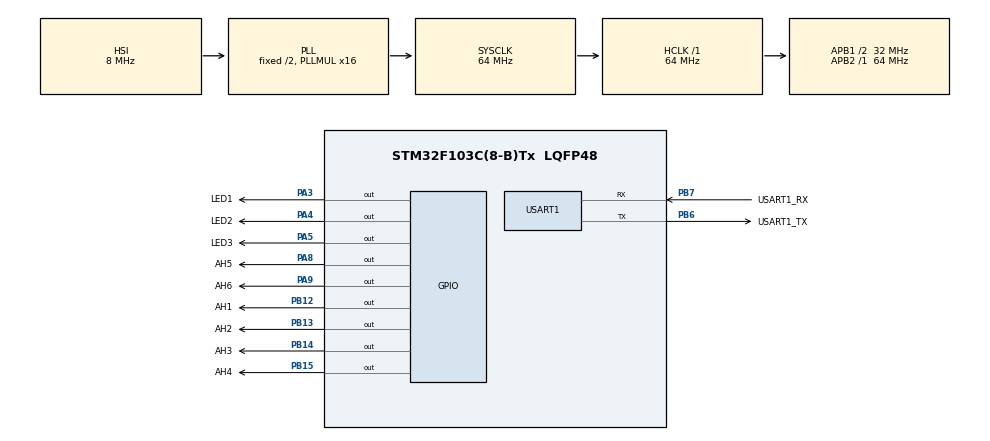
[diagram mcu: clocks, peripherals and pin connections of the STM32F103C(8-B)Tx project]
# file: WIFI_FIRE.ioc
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Mcu.Family=STM32F1
Mcu.Name=STM32F103C(8-B)Tx
Mcu.Package=LQFP48
NVIC.PriorityGroup=NVIC_PRIORITYGROUP_4
PA13.Mode=Serial_Wire
PA13.Signal=SYS_JTMS-SWDIO
PA14.Mode=Serial_Wire
PA14.Signal=SYS_JTCK-SWCLK
PA3.GPIO_Label=LED1
PA3.PinState=GPIO_PIN_SET
PA3.Signal=GPIO_Output
PA4.GPIO_Label=LED2
PA4.PinState=GPIO_PIN_SET
PA4.Signal=GPIO_Output
PA5.GPIO_Label=LED3
PA5.PinState=GPIO_PIN_SET
PA5.Signal=GPIO_Output
PA8.GPIO_Label=AH5
PA8.Signal=GPIO_Output
PA9.GPIO_Label=AH6
PA9.Signal=GPIO_Output
PB12.GPIO_Label=AH1
PB12.Signal=GPIO_Output
PB13.GPIO_Label=AH2
PB13.Signal=GPIO_Output
PB14.GPIO_Label=AH3
PB14.Signal=GPIO_Output
PB15.GPIO_Label=AH4
PB15.Signal=GPIO_Output
PB6.GPIO_Label=USART1_TX
PB6.Mode=Asynchronous
PB6.Signal=USART1_TX
PB7.GPIO_Label=USART1_RX
PB7.Mode=Asynchronous
PB7.Signal=USART1_RX
ProjectManager.HeapSize=0x200
ProjectManager.StackSize=0x400
ProjectManager.TargetToolchain=MDK-ARM V5
RCC.AHBFreq_Value=64000000
RCC.APB1CLKDivider=RCC_HCLK_DIV2
RCC.APB1Freq_Value=32000000
RCC.APB1TimFreq_Value=64000000
RCC.APB2Freq_Value=64000000
RCC.APB2TimFreq_Value=64000000
RCC.HCLKFreq_Value=64000000
RCC.PLLMUL=RCC_PLL_MUL16
RCC.SYSCLKFreq_VALUE=64000000
RCC.SYSCLKSource=RCC_SYSCLKSOURCE_PLLCLK
RCC.USBFreq_Value=64000000
USART1.VirtualMode=VM_ASYNC
board=WIFI_FIRE

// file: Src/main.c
/**
  ******************************************************************************
  * File Name          : main.c
  * Description        : Main program body
  ******************************************************************************
  ** This notice applies to any and all portions of this file
  * that are not between comment pairs USER CODE BEGIN and
  * USER CODE END. Other portions of this file, whether
  * inserted by the user or by software development tools
  * are owned by their respective copyright owners.
  *
  * COPYRIGHT(c) 2019 STMicroelectronics
  *
  * Redistribution and use in source and binary forms, with or without modification,
  * are permitted provided that the following conditions are met:
  *   1. Redistributions of source code must retain the above copyright notice,
  *      this list of conditions and the following disclaimer.
  *   2. Redistributions in binary form must reproduce the above copyright notice,
  *      this list of conditions and the following disclaimer in the documentation
  *      and/or other materials provided with the distribution.
  *   3. Neither the name of STMicroelectronics nor the names of its contributors
  *      may be used to endorse or promote products derived from this software
  *      without specific prior written permission.
  *
  * THIS SOFTWARE IS PROVIDED BY THE COPYRIGHT HOLDERS AND CONTRIBUTORS "AS IS"
  * AND ANY EXPRESS OR IMPLIED WARRANTIES, INCLUDING, BUT NOT LIMITED TO, THE
  * IMPLIED WARRANTIES OF MERCHANTABILITY AND FITNESS FOR A PARTICULAR PURPOSE ARE
  * DISCLAIMED. IN NO EVENT SHALL THE COPYRIGHT HOLDER OR CONTRIBUTORS BE LIABLE
  * FOR ANY DIRECT, INDIRECT, INCIDENTAL, SPECIAL, EXEMPLARY, OR CONSEQUENTIAL
  * DAMAGES (INCLUDING, BUT NOT LIMITED TO, PROCUREMENT OF SUBSTITUTE GOODS OR
  * SERVICES; LOSS OF USE, DATA, OR PROFITS; OR BUSINESS INTERRUPTION) HOWEVER
  * CAUSED AND ON ANY THEORY OF LIABILITY, WHETHER IN CONTRACT, STRICT LIABILITY,
  * OR TORT (INCLUDING NEGLIGENCE OR OTHERWISE) ARISING IN ANY WAY OUT OF THE USE
  * OF THIS SOFTWARE, EVEN IF ADVISED OF THE POSSIBILITY OF SUCH DAMAGE.
  *
  ******************************************************************************
  */

#include "main.h"
#include "stm32f1xx_hal.h"
#include "usart.h"
#include "gpio.h"

/* USER CODE BEGIN Includes */
#include "config.h"
/* USER CODE END Includes */

/* USER CODE BEGIN PV */
/* Private variables ---------------------------------------------------------*/

u8 temp_hex=0xaa;

/* USER CODE END PV */

void SystemClock_Config(void);

/* USER CODE BEGIN PFP */
/* Private function prototypes -----------------------------------------------*/

/* USER CODE END PFP */
extern u8  USART_RX_BUF[USART_REC_LEN]; //接收缓冲,最大USART_REC_LEN个字节.末字节为换行符
extern u16 USART_RX_STA;         		//接收状态标记

int main(void)
{

  /* MCU Configuration----------------------------------------------------------*/

  /* Reset of all peripherals, Initializes the Flash interface and the Systick. */
  HAL_Init();

  /* Configure the system clock */
  SystemClock_Config();

  /* Initialize all configured peripherals */
  MX_GPIO_Init();
  MX_USART1_UART_Init();

  /* USER CODE BEGIN 2 */
  HAL_Delay(1500);
  HAL_Delay(1500);
  printf("AT+CIPSTART=\"UDP\",\"255.255.255.255\",5000,1000,0\r\n");
  HAL_Delay(1500);
  printf("AT+CIPMODE=1\r\n");
  HAL_Delay(800);
  printf("AT+CIPSEND\r\n");
  HAL_Delay(800);

  HAL_GPIO_WritePin(AH2_GPIO_Port,AH2_Pin,GPIO_PIN_RESET);
//  HAL_GPIO_WritePin(AH4_GPIO_Port,AH4_Pin,GPIO_PIN_RESET);
  HAL_GPIO_WritePin(AH5_GPIO_Port,AH5_Pin,GPIO_PIN_RESET);
  HAL_GPIO_WritePin(AH7_GPIO_Port,AH7_Pin,GPIO_PIN_RESET);

  HAL_GPIO_WritePin(AH1_GPIO_Port,AH1_Pin,GPIO_PIN_RESET);
  HAL_GPIO_WritePin(AH3_GPIO_Port,AH3_Pin,GPIO_PIN_RESET);
  HAL_GPIO_WritePin(AH6_GPIO_Port,AH6_Pin,GPIO_PIN_RESET);
  /* USER CODE END 2 */

  /* Infinite loop */
  while (1)
  {

  /* USER CODE BEGIN 3 */

	  if(USART_RX_STA&0x8000)
	  {
//		  printf("OK\r\n");
		  USART_RX_STA=0;
//		  HAL_UART_Receive_IT(&huart3, (u8 *)aRxBuffer, RXBUFFERSIZE);

		  switch(temp_hex)
		  {
			  //需要按键松手释放
			  case KEY0_PRES:
				  HAL_GPIO_WritePin(AH2_GPIO_Port,AH2_Pin,GPIO_PIN_SET);
//					  HAL_GPIO_WritePin(AH2_GPIO_Port,AH2_Pin,GPIO_PIN_SET);
				  break;
			  case KEY2_PRES:
//					  HAL_GPIO_WritePin(AH1_GPIO_Port,AH1_Pin,GPIO_PIN_RESET);
				  HAL_GPIO_WritePin(AH5_GPIO_Port,AH5_Pin,GPIO_PIN_SET);
				  break;
			  case KEY4_PRES:
				  HAL_GPIO_WritePin(AH7_GPIO_Port,AH7_Pin,GPIO_PIN_SET);
//					  HAL_GPIO_WritePin(AH4_GPIO_Port,AH4_Pin,GPIO_PIN_SET);
				  break;
			  case KEY6_PRES:   //AH4没连接
				  HAL_GPIO_WritePin(AH2_GPIO_Port,AH2_Pin,GPIO_PIN_SET);
				  HAL_GPIO_WritePin(AH5_GPIO_Port,AH5_Pin,GPIO_PIN_SET);
				  HAL_GPIO_WritePin(AH7_GPIO_Port,AH7_Pin,GPIO_PIN_SET);
//					  HAL_GPIO_WritePin(AH3_GPIO_Port,AH3_Pin,GPIO_PIN_RESET);
				  break;

			  //按键取反
			  case KEY1_PRES:
				  HAL_GPIO_TogglePin(AH1_GPIO_Port,AH1_Pin);
//					  HAL_GPIO_TogglePin(AH6_GPIO_Port,AH6_Pin);
				  break;
			  case KEY3_PRES:
				  HAL_GPIO_TogglePin(AH3_GPIO_Port,AH3_Pin);
//					  HAL_GPIO_TogglePin(AH5_GPIO_Port,AH5_Pin);
				  break;
			  case KEY5_PRES:
				  HAL_GPIO_TogglePin(AH6_GPIO_Port,AH6_Pin);
//			      HAL_GPIO_WritePin(AH8_GPIO_Port,AH8_Pin,GPIO_PIN_RESET);
				  break;
			  case KEY7_PRES:
//				  HAL_GPIO_WritePin(AH1_GPIO_Port,AH1_Pin,GPIO_PIN_SET);
				  HAL_GPIO_WritePin(AH1_GPIO_Port,AH1_Pin,GPIO_PIN_SET);
				  HAL_GPIO_WritePin(AH3_GPIO_Port,AH3_Pin,GPIO_PIN_SET);
				  HAL_GPIO_WritePin(AH6_GPIO_Port,AH6_Pin,GPIO_PIN_SET);
				  break;

			  case NONE_PRES:		//释放松手检测继电器
				  HAL_GPIO_WritePin(GPIOB, AH2_Pin|AH4_Pin, GPIO_PIN_RESET);
				  HAL_GPIO_WritePin(GPIOA, AH5_Pin|AH7_Pin, GPIO_PIN_RESET);
				  break;
			  default:				//其他值时 也复位
				  HAL_GPIO_WritePin(GPIOB, AH2_Pin|AH4_Pin, GPIO_PIN_RESET);
				  HAL_GPIO_WritePin(GPIOA, AH5_Pin|AH7_Pin, GPIO_PIN_RESET);
				  break;
		  }
			  temp_hex = NONE_STATE;
			  USART_RX_BUF[2]=0;
			  USART_RX_BUF[3]=0;       //清零最后一位

	  }
	  HAL_Delay(10);

  }
  /* USER CODE END 3 */

}

/** System Clock Configuration
*/
void SystemClock_Config(void)
{

  RCC_OscInitTypeDef RCC_OscInitStruct;
  RCC_ClkInitTypeDef RCC_ClkInitStruct;

    /**Initializes the CPU, AHB and APB busses clocks
    */
  RCC_OscInitStruct.OscillatorType = RCC_OSCILLATORTYPE_HSI;
  RCC_OscInitStruct.HSIState = RCC_HSI_ON;
  RCC_OscInitStruct.HSICalibrationValue = 16;
  RCC_OscInitStruct.PLL.PLLState = RCC_PLL_ON;
  RCC_OscInitStruct.PLL.PLLSource = RCC_PLLSOURCE_HSI_DIV2;
  RCC_OscInitStruct.PLL.PLLMUL = RCC_PLL_MUL16;
  if (HAL_RCC_OscConfig(&RCC_OscInitStruct) != HAL_OK)
  {
    _Error_Handler(__FILE__, __LINE__);
  }

    /**Initializes the CPU, AHB and APB busses clocks
    */
  RCC_ClkInitStruct.ClockType = RCC_CLOCKTYPE_HCLK|RCC_CLOCKTYPE_SYSCLK
                              |RCC_CLOCKTYPE_PCLK1|RCC_CLOCKTYPE_PCLK2;
  RCC_ClkInitStruct.SYSCLKSource = RCC_SYSCLKSOURCE_PLLCLK;
  RCC_ClkInitStruct.AHBCLKDivider = RCC_SYSCLK_DIV1;
  RCC_ClkInitStruct.APB1CLKDivider = RCC_HCLK_DIV2;
  RCC_ClkInitStruct.APB2CLKDivider = RCC_HCLK_DIV1;

  if (HAL_RCC_ClockConfig(&RCC_ClkInitStruct, FLASH_LATENCY_2) != HAL_OK)
  {
    _Error_Handler(__FILE__, __LINE__);
  }

    /**Configure the Systick interrupt time
    */
  HAL_SYSTICK_Config(HAL_RCC_GetHCLKFreq()/1000);

    /**Configure the Systick
    */
  HAL_SYSTICK_CLKSourceConfig(SYSTICK_CLKSOURCE_HCLK);

  /* SysTick_IRQn interrupt configuration */
  HAL_NVIC_SetPriority(SysTick_IRQn, 0, 0);
}

void _Error_Handler(char * file, int line)
{
  while(1)
  {
  }
}

/************************ (C) COPYRIGHT STMicroelectronics *****END OF FILE****/
